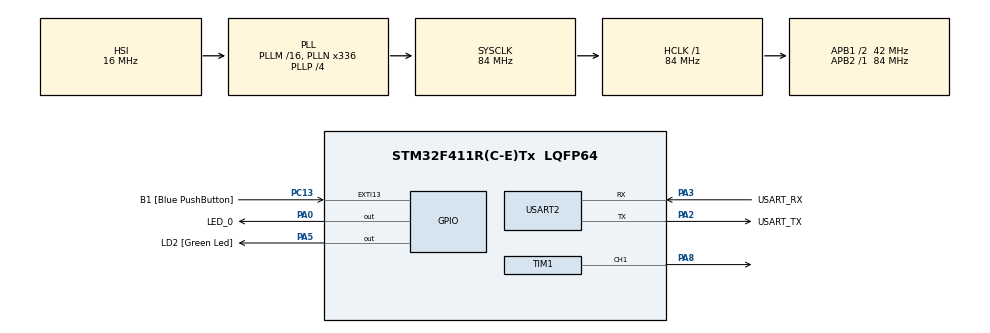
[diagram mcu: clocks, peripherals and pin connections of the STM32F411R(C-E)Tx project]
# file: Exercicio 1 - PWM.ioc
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Mcu.Family=STM32F4
Mcu.Name=STM32F411R(C-E)Tx
Mcu.Package=LQFP64
NVIC.PriorityGroup=NVIC_PRIORITYGROUP_0
NVIC.TIM1_BRK_TIM9_IRQn=true\:0\:0\:false\:false\:true\:true\:true\:true
NVIC.TIM1_CC_IRQn=true\:0\:0\:false\:false\:true\:true\:true\:true
NVIC.TIM1_TRG_COM_TIM11_IRQn=true\:0\:0\:false\:false\:true\:true\:true\:true
NVIC.TIM1_UP_TIM10_IRQn=true\:0\:0\:false\:false\:true\:true\:true\:true
NVIC.USART2_IRQn=true\:0\:0\:false\:false\:true\:true\:true\:true
PA0-WKUP.GPIO_Label=LED_0
PA0-WKUP.Signal=GPIO_Output
PA13.GPIO_Label=TMS
PA13.Mode=Serial_Wire
PA13.Signal=SYS_JTMS-SWDIO
PA14.GPIO_Label=TCK
PA14.Mode=Serial_Wire
PA14.Signal=SYS_JTCK-SWCLK
PA2.GPIO_Label=USART_TX
PA2.Mode=Asynchronous
PA2.Signal=USART2_TX
PA3.GPIO_Label=USART_RX
PA3.Mode=Asynchronous
PA3.Signal=USART2_RX
PA5.GPIO_Label=LD2 [Green Led]
PA5.Signal=GPIO_Output
PA8.Signal=S_TIM1_CH1
PB3.GPIO_Label=SWO
PB3.Signal=SYS_JTDO-SWO
PC13-ANTI_TAMP.GPIO_Label=B1 [Blue PushButton]
PC13-ANTI_TAMP.GPIO_ModeDefaultEXTI=GPIO_MODE_IT_FALLING
PC13-ANTI_TAMP.Signal=GPXTI13
PC14-OSC32_IN.Mode=LSE-External-Oscillator
PC14-OSC32_IN.Signal=RCC_OSC32_IN
PC15-OSC32_OUT.Mode=LSE-External-Oscillator
PC15-OSC32_OUT.Signal=RCC_OSC32_OUT
PH0\ -\ OSC_IN.Mode=HSE-External-Clock-Source
PH0\ -\ OSC_IN.Signal=RCC_OSC_IN
PH1\ -\ OSC_OUT.Mode=HSE-External-Clock-Source
PH1\ -\ OSC_OUT.Signal=RCC_OSC_OUT
ProjectManager.HeapSize=0x200
ProjectManager.StackSize=0x400
ProjectManager.TargetToolchain=STM32CubeIDE
RCC.48MHZClocksFreq_Value=84000000
RCC.AHBFreq_Value=84000000
RCC.APB1CLKDivider=RCC_HCLK_DIV2
RCC.APB1Freq_Value=42000000
RCC.APB1TimFreq_Value=84000000
RCC.APB2Freq_Value=84000000
RCC.APB2TimFreq_Value=84000000
RCC.CortexFreq_Value=84000000
RCC.FLatency-AdvancedSettings=FLASH_LATENCY_2
RCC.HCLKFreq_Value=84000000
RCC.HSE_VALUE=8000000
RCC.HSI_VALUE=16000000
RCC.PLLN=336
RCC.PLLP=RCC_PLLP_DIV4
RCC.SYSCLKFreq_VALUE=84000000
RCC.SYSCLKSource=RCC_SYSCLKSOURCE_PLLCLK
RCC.VCOOutputFreq_Value=336000000
SH.S_TIM1_CH1.0=TIM1_CH1,PWM Generation1 CH1
TIM1.AutoReloadPreload=TIM_AUTORELOAD_PRELOAD_ENABLE
TIM1.Channel-PWM\ Generation1\ CH1=TIM_CHANNEL_1
USART2.Parity=PARITY_EVEN
USART2.VirtualMode=VM_ASYNC
USART2.WordLength=WORDLENGTH_9B
board=NUCLEO-F411RE

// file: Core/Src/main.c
/* USER CODE BEGIN Header */
/**
  ******************************************************************************
  * @file           : main.c
  * @brief          : Main program body
  ******************************************************************************
  * @attention
  *
  * Copyright (c) 2023 STMicroelectronics.
  * All rights reserved.
  *
  * This software is licensed under terms that can be found in the LICENSE file
  * in the root directory of this software component.
  * If no LICENSE file comes with this software, it is provided AS-IS.
  *
  ******************************************************************************
  */
/* USER CODE END Header */
#define PWM_CHANNEL TIM_CHANNEL_1
#define TIM_ARR 1000-1
#define TIM_PSC 84-1

#include "main.h"
#include "tim.h"
#include "usart.h"
#include "gpio.h"

/* USER CODE BEGIN Includes */
#include <string.h>
#include <stdbool.h>
/* USER CODE END Includes */

/* USER CODE BEGIN PD */
#define TIMEOUT 1000
#define TAM_MSG 200
#define TAM_CMD 1
uint8_t msg[TAM_MSG]="Bernardo Rodrigues da Silva - 4411\r\n";
uint8_t CMD[TAM_CMD];
int duty_cycle=100;
/* USER CODE END PD */

void SystemClock_Config(void);
/* USER CODE BEGIN PFP */
void HAL_TIM_PeriodElapsedCallback(TIM_HandleTypeDef *htim)
{
    __HAL_TIM_SET_COMPARE(htim, PWM_CHANNEL, duty_cycle);
}
void HAL_UART_RxCpltCallback(UART_HandleTypeDef *huart)
{
	CMD[0]=(CMD[0]-48);
	switch(CMD[0])
	{
		case 0:
			strcpy(msg,"\n DUTY CYCLE=0\r\n");
			duty_cycle=0*TIM_ARR;
			break;
		case 1:
			strcpy(msg,"\n DUTY CYCLE=20\r\n");
			duty_cycle=0.2*TIM_ARR;
			break;
		case 2:
			strcpy(msg,"\n DUTY CYCLE=40\r\n");
			duty_cycle=0.4*TIM_ARR;
			break;
		case 3:
			strcpy(msg,"\n DUTY CYCLE=60\r\n");
			duty_cycle=0.6*TIM_ARR;
			break;
		case 4:
			strcpy(msg,"\n DUTY CYCLE=80\r\n");
			duty_cycle=0.8*TIM_ARR;
			break;
		case 5:
			strcpy(msg,"\n DUTY CYCLE=100\r\n");
			duty_cycle=TIM_ARR;
			break;

		default :
		strcpy(msg,"\nParametro invalido\r\n");
	}
		HAL_UART_Receive_IT(&huart2,CMD,TAM_CMD);
}
void LIMPA_STRING()
{
	if (msg[0]!='\0')
	{
	  HAL_UART_Transmit(&huart2, msg, strlen(msg),TIMEOUT);
	  msg[0]='\0';
	}
}
/* USER CODE END PFP */

int main(void)
{

  /* MCU Configuration--------------------------------------------------------*/

  /* Reset of all peripherals, Initializes the Flash interface and the Systick. */
  HAL_Init();

  /* Configure the system clock */
  SystemClock_Config();

  /* Initialize all configured peripherals */
  MX_GPIO_Init();
  MX_USART2_UART_Init();
  MX_TIM1_Init();
  /* USER CODE BEGIN 2 */
  HAL_TIM_Base_Start_IT(&htim1);
  HAL_TIM_PWM_Start(&htim1, PWM_CHANNEL);

  __HAL_TIM_SET_PRESCALER(&htim1,TIM_PSC);
  __HAL_TIM_SET_AUTORELOAD(&htim1,TIM_ARR);

  HAL_UART_Transmit(&huart2, msg, strlen(msg),TIMEOUT);
  LIMPA_STRING();
  HAL_UART_Receive_IT(&huart2,CMD,TAM_CMD);

  /* USER CODE END 2 */

  /* Infinite loop */
  while (1)
  {
	  LIMPA_STRING();
  }
}

void SystemClock_Config(void)
{
  RCC_OscInitTypeDef RCC_OscInitStruct = {0};
  RCC_ClkInitTypeDef RCC_ClkInitStruct = {0};

  /** Configure the main internal regulator output voltage
  */
  __HAL_RCC_PWR_CLK_ENABLE();
  __HAL_PWR_VOLTAGESCALING_CONFIG(PWR_REGULATOR_VOLTAGE_SCALE1);

  /** Initializes the RCC Oscillators according to the specified parameters
  * in the RCC_OscInitTypeDef structure.
  */
  RCC_OscInitStruct.OscillatorType = RCC_OSCILLATORTYPE_HSI;
  RCC_OscInitStruct.HSIState = RCC_HSI_ON;
  RCC_OscInitStruct.HSICalibrationValue = RCC_HSICALIBRATION_DEFAULT;
  RCC_OscInitStruct.PLL.PLLState = RCC_PLL_ON;
  RCC_OscInitStruct.PLL.PLLSource = RCC_PLLSOURCE_HSI;
  RCC_OscInitStruct.PLL.PLLM = 16;
  RCC_OscInitStruct.PLL.PLLN = 336;
  RCC_OscInitStruct.PLL.PLLP = RCC_PLLP_DIV4;
  RCC_OscInitStruct.PLL.PLLQ = 4;
  if (HAL_RCC_OscConfig(&RCC_OscInitStruct) != HAL_OK)
  {
    Error_Handler();
  }

  /** Initializes the CPU, AHB and APB buses clocks
  */
  RCC_ClkInitStruct.ClockType = RCC_CLOCKTYPE_HCLK|RCC_CLOCKTYPE_SYSCLK
                              |RCC_CLOCKTYPE_PCLK1|RCC_CLOCKTYPE_PCLK2;
  RCC_ClkInitStruct.SYSCLKSource = RCC_SYSCLKSOURCE_PLLCLK;
  RCC_ClkInitStruct.AHBCLKDivider = RCC_SYSCLK_DIV1;
  RCC_ClkInitStruct.APB1CLKDivider = RCC_HCLK_DIV2;
  RCC_ClkInitStruct.APB2CLKDivider = RCC_HCLK_DIV1;

  if (HAL_RCC_ClockConfig(&RCC_ClkInitStruct, FLASH_LATENCY_2) != HAL_OK)
  {
    Error_Handler();
  }
}

void Error_Handler(void)
{
  __disable_irq();
  while (1)
  {
  }
}
